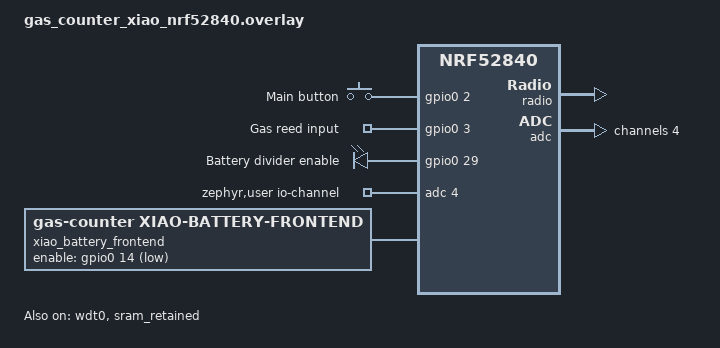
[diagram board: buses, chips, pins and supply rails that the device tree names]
/*
 * Copyright (c) 2025 Nordic Semiconductor ASA
 *
 * SPDX-License-Identifier: LicenseRef-Nordic-5-Clause
 */
/ {

    aliases {
        main-button = &main_button;
        reed-input = &reed_input;
        batt-divider-en = &batt_divider_en;
        watchdog0 = &wdt0;
        xiao-read-bat-enable = &xiao_battery_frontend;
        xiao-led-red = &led0;
        xiao-led-green = &led1;
        xiao-led-blue = &led2;
    };

    app_gpios {
        compatible = "gpio-keys";

        main_button: main_button {
            gpios = <&gpio0 2 GPIO_ACTIVE_HIGH>;
            label = "Main button";
        };

        reed_input: reed_input {
            gpios = <&gpio0 3 GPIO_ACTIVE_HIGH>;
            label = "Gas reed input";
        };
    };

    gpio_outputs {
        compatible = "gpio-leds";

        batt_divider_en: batt_divider_en {
            gpios = <&gpio0 29 GPIO_ACTIVE_HIGH>;
            label = "Battery divider enable";
        };
    };

    zephyr,user {
        io-channels = <&adc 4>; /* P0.28 = AIN4 = XIAO D2/A2 */
    };

    sram_retained: sram@2003ff00 {
        compatible = "zephyr,memory-region", "mmio-sram";
        reg = <0x2003ff00 0x100>;
        zephyr,memory-region = "RetainedMem";
        status = "okay";

        retainedmem {
            compatible = "zephyr,retained-ram";
            status = "okay";
            #address-cells = <1>;
            #size-cells = <1>;

            gm_retention: retention@0 {
                compatible = "zephyr,retention";
                reg = <0x0 0x100>;
                status = "okay";
                prefix = [47 4d]; /* "GM" */
                checksum = <4>;
            };
        };
    };

    xiao_battery_frontend: xiao_battery_frontend {
        compatible = "gas-counter,xiao-battery-frontend";
        enable-gpios = <&gpio0 14 GPIO_ACTIVE_LOW>;
        status = "okay";
    };
};

&sram0 {
    reg = <0x20000000 0x3ff00>;
};

&radio {
    status = "okay";
    zephyr,deferred-init;
};

&wdt0 {
    status = "okay";
};

&adc {
    status = "okay";

    #address-cells = <1>;
    #size-cells = <0>;

    channel@4 {
        reg = <4>;
        zephyr,gain = "ADC_GAIN_1_6";
        zephyr,reference = "ADC_REF_INTERNAL";
        zephyr,acquisition-time = <ADC_ACQ_TIME(ADC_ACQ_TIME_MICROSECONDS, 40)>;
        zephyr,input-positive = <NRF_SAADC_AIN4>;
        zephyr,resolution = <12>;
        zephyr,oversampling = <4>;
    };
};

&gpio0 {
	latch-detect;
	sense-edge-mask = <0x0000000c>; /* BIT(2) | BIT(3) */
};

/delete-node/ &slot0_partition;
/delete-node/ &slot1_partition;
/delete-node/ &storage_partition;

&flash0 {
    partitions {
        boot_partition: partition@0 {
            compatible = "zephyr,mapped-partition";
            label = "mcuboot";
            reg = <0x00000 DT_SIZE_K(48)>;
        };

        slot0_partition: partition@0C000 {
            compatible = "zephyr,mapped-partition";
            label = "image-0";
            reg = <0x0C000 DT_SIZE_K(464)>;
        };

        slot1_partition: partition@80000 {
            compatible = "zephyr,mapped-partition";
            label = "image-1";
            reg = <0x80000 DT_SIZE_K(464)>;
        };

        storage_partition: partition@f8000 {
            compatible = "zephyr,mapped-partition";
            label = "storage";
            reg = <0xf8000 DT_SIZE_K(20)>;
        };

        zboss_nvram: partition@fd000 {
            compatible = "zephyr,mapped-partition";
            label = "zboss-nvram";
            reg = <0xfd000 DT_SIZE_K(8)>;
        };

        zboss_product_config: partition@ff000 {
            compatible = "zephyr,mapped-partition";
            label = "zboss-product-config";
            reg = <0xff000 DT_SIZE_K(4)>;
        };
    };
};
